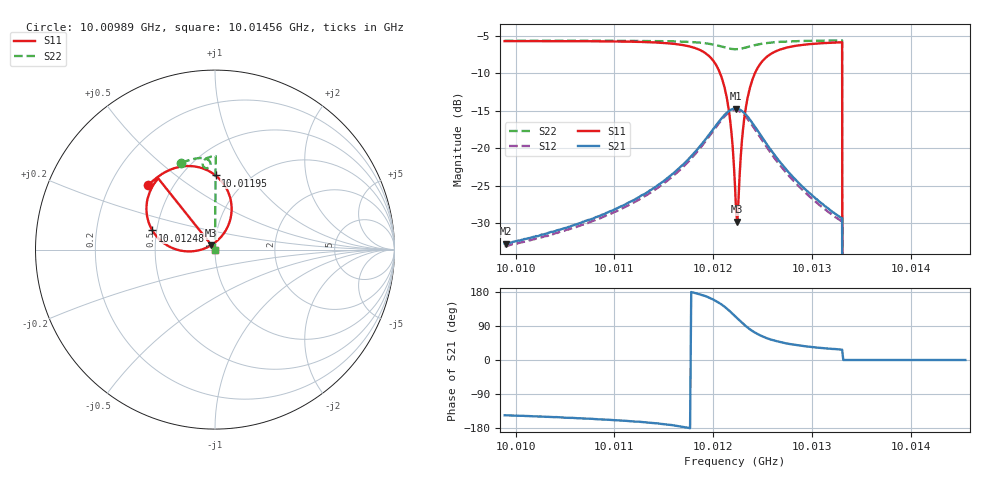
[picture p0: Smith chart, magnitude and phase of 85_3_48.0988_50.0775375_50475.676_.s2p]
#  HZ  S  RI  R  50.00
! Rohde & Schwarz Vector Network Analyzer
! Rohde-Schwarz,ZNB20-2Port,1311601062101988,3.16
! Created: UTC 12/23/2023, 3:43:11 AM
! freq[Hz]  re:S11  im:S11  re:S21  im:S21  re:S12  im:S12  re:S22  im:S22
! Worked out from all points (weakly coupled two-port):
!   401 points, 10.00989 GHz to 10.01456 GHz, reference 50 ohm
!   highest |S21| = -14.73 dB at 10.01223 GHz (marker M1); lowest = -32.7 dB at 10.0099 GHz (marker M2)
!   lowest |S11| = -29.8 dB at 10.01225 GHz (marker M3), VSWR 1.07, Z = 47.8 + j2.31 ohm
!   |S11| at or under -10 dB: 10.01207 GHz to 10.01242 GHz (355.2 kHz wide, 0.00355 % of centre); 10.01331 GHz to end of sweep
!   |S22| runs from - to -5.7 dB; largest |S21 - S12| = 0.0086
!   S11 on the Smith chart (normalised r, x): 10.00989 GHz: 0.37, +0.36; 10.01195 GHz: 0.71, +0.71; 10.01248 GHz: 0.47, +0.12; 10.01456 GHz: 1.00, +0.00
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1.0009889e10  -0.3713 0.3584  -0.0192 -0.013  -0.0178 -0.0134  -0.1883 0.4832
1.00099e10  -0.3706 0.3592  -0.0192 -0.0129  -0.0178 -0.0134  -0.1875 0.4835
1.001067e10  -0.3157 0.4074  -0.0288 -0.014  -0.027 -0.0149  -0.1383 0.5005
1.0011452e10  -0.2094 0.4583  -0.0561 -0.0121  -0.0533 -0.0145  -0.0808 0.5101
1.0011954e10  0.00281 0.4134  -0.1175 0.0308  -0.1156 0.0242  -0.0322 0.4949
1.0012059e10  0.0732 0.3212  -0.1312 0.0726  -0.1314 0.0646  -0.0249 0.4798
1.0012129e10  0.0923 0.214  -0.1261 0.1135  -0.1283 0.1052  -0.0267 0.4661
1.0012175e10  0.0719 0.1298  -0.1086 0.1428  -0.1117 0.1353  -0.033 0.4581
1.0012222e10  0.017 0.0534  -0.08 0.1651  -0.0843 0.1582  -0.0429 0.4537
1.0012234e10  -0.00196 0.0374  -0.0713 0.1692  -0.0757 0.1623  -0.0457 0.4535
1.0012245e10  -0.0217 0.0241  -0.0627 0.172  -0.067 0.1654  -0.0484 0.4535
1.0012257e10  -0.0431 0.0124  -0.0539 0.1739  -0.0572 0.1677  -0.0511 0.4538
1.0012304e10  -0.1336 -0.00996  -0.0182 0.1734  -0.022 0.1674  -0.0607 0.4587
1.0012339e10  -0.198 -0.00418  0.00568 0.1652  0.000752 0.1596  -0.0656 0.4645
1.0012397e10  -0.2823 0.034  0.0341 0.1433  0.0285 0.1388  -0.0689 0.4755
1.0012479e10  -0.3488 0.1066  0.0521 0.1111  0.0464 0.108  -0.0664 0.4891
1.00127e10  -0.3805 0.2554  0.0538 0.0561  0.0488 0.0555  -0.047 0.509
1.0013004e10  -0.3496 0.3497  0.04 0.0274  0.0367 0.0277  -0.0198 0.5183
1.0013284e10  -0.3184 0.3936  0.0309 0.0162  0.0285 0.0169  0.00223 0.521
1.0013342e10  0 0  0 0  0 0  0 0
1.0013785e10  0 0  0 0  0 0  0 0
1.0014555e10  0 0  0 0  0 0  0 0
